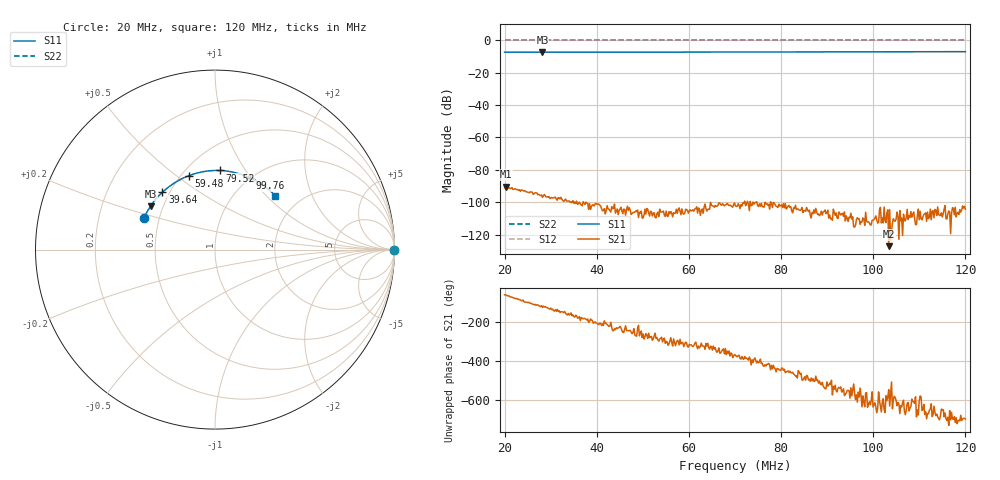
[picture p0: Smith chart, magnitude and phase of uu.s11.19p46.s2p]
! Anritsu VNA Master:  Model: MS2036C/10/77
! SN:  1601066
! /card0/usr/uu.s11.19p46.s2p
! Existing Calibration Information:
! TYPE:  Current Settings,  Active Cal Settings
! TIME:  05/23/2018 11:42:00 AM,  05/23/2018 11:36:58 AM
! INTERNAL TEMP:  48.5 C,  48.8 C
! # POINTS:  500,  500
! START FREQ:  20.000 MHz,  20.000 MHz
! STOP FREQ:  120.000 MHz,  120.000 MHz
! SOURCE POWER:  High,  High
! IFBW:  50 Hz,  50 Hz
! AVG FACTOR:  1 ,  1
! REF PLANE 1:  0 mm,  0 mm
! REF PLANE 2:  0 mm,  0 mm
! CAL TYPE:  Full S11,  Full S11
! CAL METHOD:  SOLT,  SOLT
! CAL LINE TYPE:  Coax,  Coax
! DUT PORT 1:  K-Conn(M),  K-Conn(M)
! DUT PORT 2:  K-Conn(M),  K-Conn(M)
! CAL STATUS:  OK: Accuracy High,  --
# GHZ S DB R 50.0
! FREQ.GHZ  S11DB  S11A  S21DB  S21A  S12DB  S12A  S22DB  S22A
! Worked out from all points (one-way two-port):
!   500 points, 20 MHz to 120 MHz, reference 50 ohm
!   highest |S21| = -90.31 dB at 20.2 MHz (marker M1); lowest = -127.2 dB at 103.4 MHz (marker M2)
!   lowest |S11| = -7.3 dB at 28.22 MHz (marker M3), VSWR 2.52, Z = 21.4 + j12.7 ohm
!   |S11| at or under -10 dB: nowhere
!   |S22| runs from 0.0 to 0.0 dB; largest |S21 - S12| = 1
!   S11 on the Smith chart (normalised r, x): 20 MHz: 0.41, +0.18; 39.64 MHz: 0.46, +0.36; 59.48 MHz: 0.55, +0.56; 79.52 MHz: 0.70, +0.77; 99.76 MHz: 0.99, +0.99; 120 MHz: 1.50, +1.13
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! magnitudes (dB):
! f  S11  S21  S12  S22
! 20 MHz  -7.3  -91.2  0.0  0.0
! 20.2 MHz  -7.3  -90.3  0.0  0.0
! 28.22 MHz  -7.3  -97.0  0.0  0.0
! 30.62 MHz  -7.3  -97.4  0.0  0.0
! 31.62 MHz  -7.3  -97.2  0.0  0.0
! 36.83 MHz  -7.3  -102.3  0.0  0.0
! 39.64 MHz  -7.3  -101.0  0.0  0.0
! 46.65 MHz  -7.2  -102.5  0.0  0.0
! 53.47 MHz  -7.2  -108.9  0.0  0.0
! 55.67 MHz  -7.2  -105.9  0.0  0.0
! 59.48 MHz  -7.2  -104.5  0.0  0.0
! 61.88 MHz  -7.2  -106.7  0.0  0.0
! 62.89 MHz  -7.2  -104.2  0.0  0.0
! 70.1 MHz  -7.1  -102.3  0.0  0.0
! 79.52 MHz  -7.1  -101.2  0.0  0.0
! 86.73 MHz  -7.1  -106.3  0.0  0.0
! 93.35 MHz  -7.1  -107.0  0.0  0.0
! 99.76 MHz  -7.0  -111.2  0.0  0.0
! 103.4 MHz  -7.0  -127.2  0.0  0.0
! 112.2 MHz  -7.0  -109.5  0.0  0.0
! 113.6 MHz  -7.0  -104.9  0.0  0.0
! 120 MHz  -6.9  -104.4  0.0  0.0
